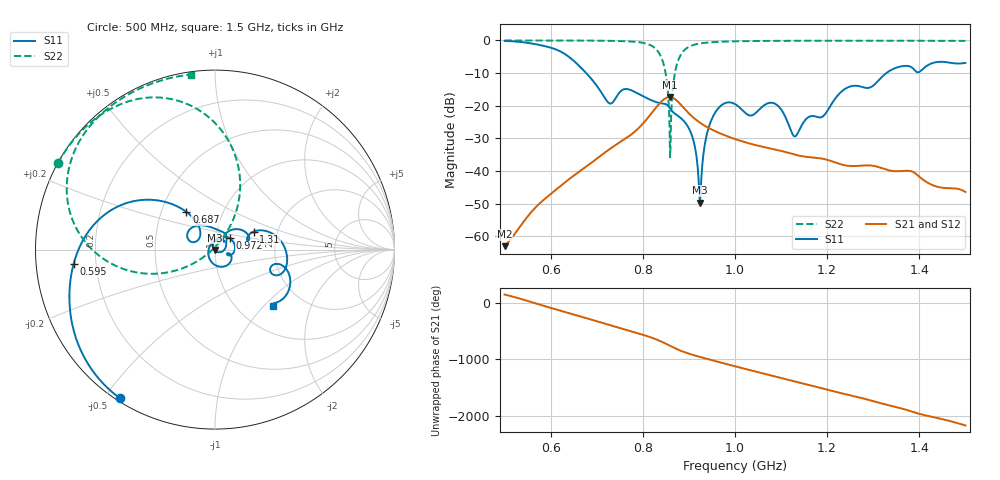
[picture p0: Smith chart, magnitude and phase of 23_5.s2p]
! TOUCHSTONE file generated by CST MICROWAVE STUDIO
! Date and time: Fri Oct  2 19:13:22 2020
! Project name: Scenario_1_Free_Space_out_of_line.cst
! Parameters = {Lambda=346.42; Step_1=17.321; dy1=-33.862; dx1=866; L_HA=400; MT=2.54; Rad_Dielectric=30; Rad_Lower=7.3; Rad_Upper=30; a_HA=580; a_WG=246; b_HA=500; b_WG=121; c_HA=0; c_WG=187; d_feed=85; h_feed=15; h_lower=18; h_upper=40}
! Header version: 2018
! Port assignment regex: !\s*Touchstone port\s*([0-9]+)\s*=\s*(CST MWS port|CST DS port)\s*([0-9]+|Zmin|Zmax)\s*\(\"(.*)\"\)(\s*mode\s*([0-9]+))?.*
! Touchstone port assignment:
! Touchstone port 1 = CST MWS port 1 ("")
! Touchstone port 2 = CST MWS port 2 ("")
# GHz S DB R 50
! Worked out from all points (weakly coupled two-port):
!   1003 points, 500 MHz to 1.5 GHz, reference 50 ohm
!   highest |S21| = -17.34 dB at 858 MHz (marker M1); lowest = -63.0 dB at 500 MHz (marker M2)
!   lowest |S11| = -49.6 dB at 924 MHz (marker M3), VSWR 1.01, Z = 49.7 - j0.197 ohm
!   |S11| at or under -10 dB: 677.1 MHz to 1.329 GHz (651.5 MHz wide, 65 % of centre)
!   |S22| runs from -35.8 to 0.0 dB; largest |S21 - S12| = 2.8e-06
!   S11 on the Smith chart (normalised r, x): 500 MHz: 0.01, -0.55; 595 MHz: 0.12, -0.05; 687 MHz: 0.67, +0.30; 972 MHz: 1.17, +0.15; 1.31 GHz: 1.51, +0.32; 1.5 GHz: 1.43, -1.14
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0.5  -0.15 -122.6  -63.02 143.9  -63.02 143.9  -0.01 151.1
0.595  -2.02 -174.1  -47.63 -80.5  -47.63 -80.5  -0.02 144.5
0.667  -8.51 135.5  -39.67 108.7  -39.67 108.7  -0.04 138.3
0.687  -11.57 127.2  -37.62 62.0  -37.62 62.0  -0.06 136.3
0.728  -19.31 143.5  -33.28 -36.2  -33.28 -36.2  -0.12 131.1
0.764  -14.88 142.7  -29.94 -123.4  -29.94 -123.4  -0.26 124.6
0.834  -19.09 81.5  -19.64 52.2  -19.64 52.2  -3.61 86.5
0.848  -19.43 63.9  -17.81 -0.0  -17.81 -0.0  -9.00 66.9
0.858  -20.65 45.8  -17.34 -40.6  -17.34 -40.6  -26.59 59.4
0.879  -23.41 22.6  -19.16 -121.2  -19.16 -121.2  -5.33 -169.4
0.907  -29.33 -24.3  -23.29 158.6  -23.29 158.6  -1.51 164.9
0.924  -49.65 -143.1  -25.20 118.3  -25.20 118.3  -0.93 156.8
0.942  -27.12 97.6  -26.74 77.9  -26.74 77.9  -0.63 151.1
0.972  -19.70 37.5  -28.73 12.4  -28.73 12.4  -0.38 144.6
1  -19.50 -8.1  -30.20 -47.3  -30.20 -47.3  -0.27 140.3
1.034  -23.00 -19.1  -31.67 -118.6  -31.67 -118.6  -0.19 136.1
1.087  -19.40 -61.0  -33.39 131.2  -33.39 131.2  -0.13 130.9
1.129  -29.38 161.8  -34.96 43.9  -34.96 43.9  -0.11 127.2
1.167  -23.15 45.5  -35.82 -31.9  -35.82 -31.9  -0.10 124.2
1.31  -12.48 25.0  -38.74 32.0  -38.73 32.0  -0.09 113.3
1.334  -9.46 14.7  -39.79 -18.4  -39.79 -18.4  -0.09 111.5
1.5  -6.88 -44.3  -46.43 -15.8  -46.43 -15.8  -0.14 97.9
